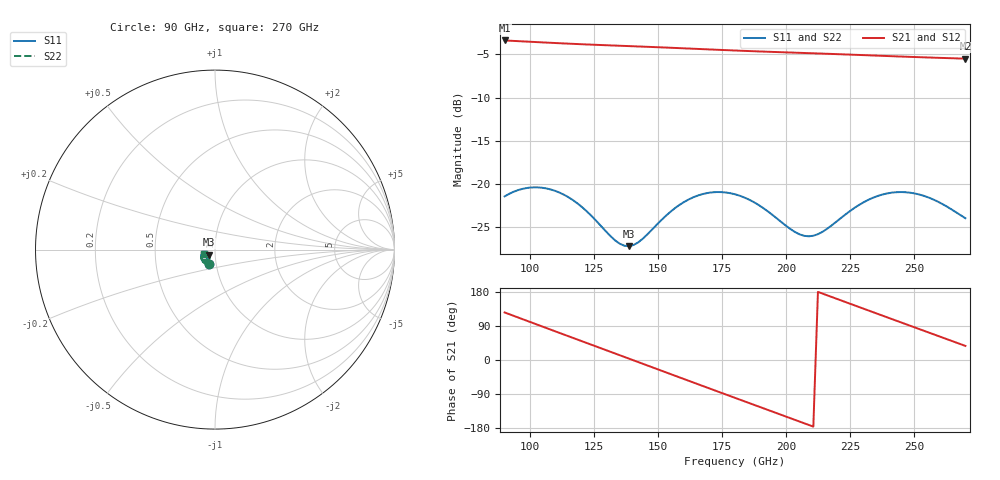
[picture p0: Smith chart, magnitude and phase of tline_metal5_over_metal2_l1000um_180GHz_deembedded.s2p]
! Created with skrf 2.2.0 (http://scikit-rf.org).
# GHz S DB R 50.0
! Port[1] = P1
! Port[2] = P2
!freq dBS11 angS11 dBS21 angS21 dBS12 angS12 dBS22 angS22
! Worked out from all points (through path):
!   101 points, 90 GHz to 270 GHz, reference 50 ohm
!   highest |S21| = -3.38 dB at 90 GHz (marker M1); lowest = -5.5 dB at 270 GHz (marker M2)
!   group delay of S21, straight-line fit = 6.92 ps
!   lowest |S11| = -27.2 dB at 138.6 GHz (marker M3), VSWR 1.09, Z = 46.7 - j2.59 ohm
!   |S11| at or under -10 dB: start of sweep to end of sweep
!   |S22| runs from -27.3 to -20.4 dB; largest |S21 - S12| = 9.5e-14
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90  -21.43 -113.7  -3.38 125.5  -3.38 125.5  -21.39 -113.0
97.2  -20.55 -125.4  -3.49 107.3  -3.49 107.3  -20.51 -124.8
104.4  -20.43 -137.5  -3.59 89.2  -3.59 89.2  -20.40 -137.1
111.6  -21.02 -148.8  -3.70 71.1  -3.70 71.1  -21.00 -148.4
120.6  -22.77 -159.2  -3.82 48.6  -3.82 48.6  -22.78 -158.9
129.6  -25.49 -159.2  -3.93 26.1  -3.93 26.1  -25.55 -158.8
138.6  -27.20 -140.6  -4.03 3.5  -4.03 3.5  -27.28 -139.7
151.2  -24.19 -122.6  -4.18 -28.0  -4.18 -28.0  -24.19 -121.4
165.6  -21.32 -133.8  -4.36 -64.0  -4.36 -64.0  -21.29 -132.8
172.8  -20.93 -142.9  -4.45 -82.0  -4.45 -82.0  -20.90 -142.0
180  -21.19 -151.8  -4.54 -99.9  -4.54 -99.9  -21.16 -151.0
187.2  -22.08 -159.1  -4.62 -117.7  -4.62 -117.7  -22.05 -158.3
196.2  -23.95 -162.2  -4.72 -140.1  -4.72 -140.1  -23.94 -161.4
205.2  -25.83 -153.2  -4.81 -162.4  -4.81 -162.4  -25.83 -152.3
210.6  -25.99 -142.8  -4.86 -175.8  -4.86 -175.8  -25.99 -141.8
217.8  -24.79 -132.4  -4.94 166.3  -4.94 166.3  -24.76 -131.3
225  -23.12 -130.5  -5.02 148.4  -5.02 148.4  -23.08 -129.4
234  -21.58 -135.9  -5.12 126.0  -5.12 126.0  -21.53 -134.9
241.2  -21.01 -143.0  -5.20 108.2  -5.20 108.2  -20.95 -142.0
248.4  -21.01 -150.5  -5.28 90.4  -5.28 90.4  -20.94 -149.6
255.6  -21.56 -157.0  -5.35 72.7  -5.35 72.7  -21.49 -156.1
270  -23.97 -159.5  -5.48 37.2  -5.48 37.2  -23.84 -158.9
